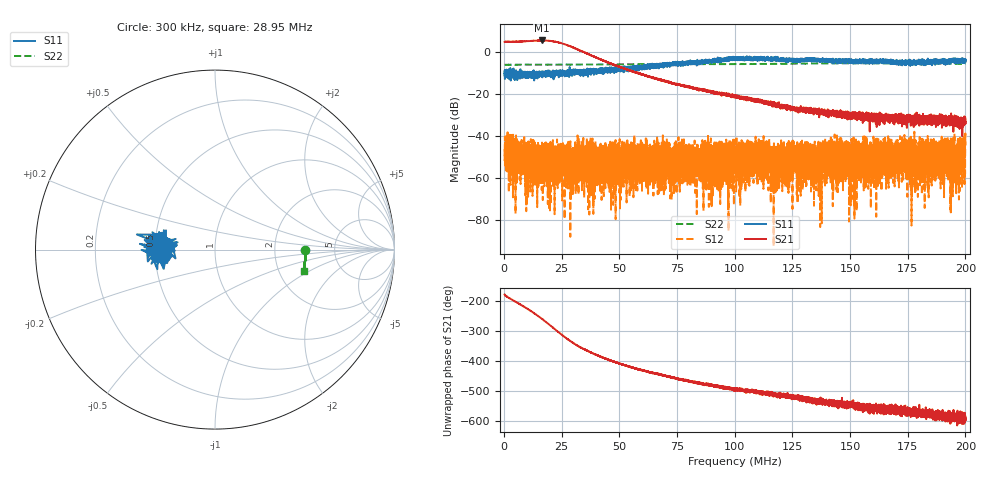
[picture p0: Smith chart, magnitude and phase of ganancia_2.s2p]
# Hz S DB R 50
! CMT, M5065, 19127446, 24.2.4/2
! Date: 10/29/2024 11:46:33 AM
! Data: Format (Calibration Info)
! Freq	S11:dB/Ang(F2)	S21:dB/Ang(F2)	S12:dB/Ang(F2)	S22:dB/Ang(F2)
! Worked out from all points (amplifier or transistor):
!   9000 points, 300 kHz to 200 MHz, reference 50 ohm
!   highest |S21| = 5.6 dB at 16.39 MHz (marker M1)
!   |S21| within 3 dB of that: start of sweep to 29.2 MHz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
!   unconditionally stable (mu >= 1): start of sweep to end of sweep
!   at 33.59 MHz: K = 124.36, MAG = 2.4 dB, |S12| = -52.1 dB
!   at 100.2 MHz: K = 490.45, MAG = -15.6 dB, |S12| = -49.3 dB
!   at 200 MHz: K = 1500.73, MAG = -28.8 dB, |S12| = -44.2 dB
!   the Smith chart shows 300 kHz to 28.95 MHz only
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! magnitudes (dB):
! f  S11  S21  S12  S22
! 300 kHz  -10.0  4.9  -46.1  -6.0
! 9.177 MHz  -11.4  5.2  -49.8  -5.9
! 12.46 MHz  -10.4  5.5  -52.4  -5.9
! 16.39 MHz  -11.0  5.6  -65.7  -5.9
! 20.83 MHz  -10.5  5.3  -58.5  -5.9
! 29.77 MHz  -9.6  2.4  -53.3  -5.9
! 33.59 MHz  -9.2  0.5  -52.1  -5.9
! 39.69 MHz  -9.8  -2.4  -56.7  -5.8
! 54.29 MHz  -7.5  -8.7  -46.2  -5.8
! 66.87 MHz  -5.9  -12.9  -50.3  -5.7
! 100.2 MHz  -2.5  -20.7  -49.3  -5.6
! 133.4 MHz  -3.5  -27.5  -53.5  -5.4
! 148.3 MHz  -3.9  -29.9  -49.9  -5.3
! 150.5 MHz  -4.1  -29.3  -44.8  -5.3
! 155.8 MHz  -3.3  -30.2  -46.5  -5.3
! 158.9 MHz  -3.2  -30.6  -48.4  -5.3
! 166.7 MHz  -4.8  -31.4  -64.6  -5.3
! 174.2 MHz  -4.8  -32.9  -51.7  -5.3
! 178.6 MHz  -5.0  -34.0  -46.1  -5.4
! 191.9 MHz  -4.0  -31.1  -48.6  -5.5
! 196.7 MHz  -4.6  -30.7  -46.8  -5.5
! 200 MHz  -4.4  -32.2  -44.2  -5.5
